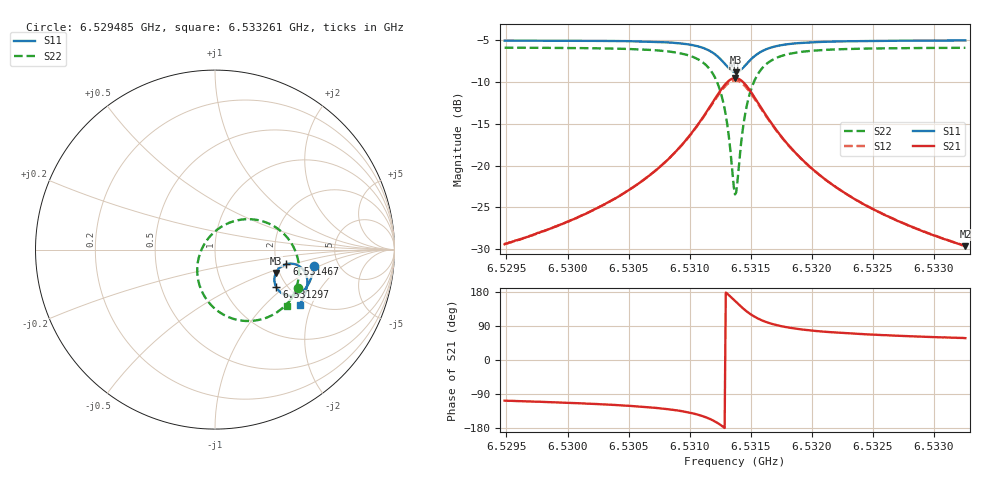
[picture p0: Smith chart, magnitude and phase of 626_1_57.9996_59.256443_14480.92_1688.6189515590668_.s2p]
#  HZ  S  RI  R  50.00
! Rohde & Schwarz Vector Network Analyzer
! Rohde-Schwarz,ZNB20-2Port,1311601062101988,3.16
! Created: UTC 3/21/2024, 1:18:20 AM
! freq[Hz]  re:S11  im:S11  re:S21  im:S21  re:S12  im:S12  re:S22  im:S22
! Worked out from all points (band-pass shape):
!   401 points, 6.529485 GHz to 6.533261 GHz, reference 50 ohm
!   highest |S21| = -9.52 dB at 6.531373 GHz (marker M1); lowest = -29.7 dB at 6.533261 GHz (marker M2)
!   |S21| within 3 dB of the highest: 6.531186 GHz to 6.531563 GHz (377 kHz wide, 0.00577 % of centre)
!   lowest |S11| = -8.8 dB at 6.531382 GHz (marker M3), VSWR 2.14, Z = 95.6 - j28.7 ohm
!   |S11| at or under -10 dB: nowhere
!   |S22| runs from -23.5 to -5.9 dB; largest |S21 - S12| = 0.014
!   S11 on the Smith chart (normalised r, x): 6.529485 GHz: 3.29, -0.89; 6.531297 GHz: 1.76, -0.88; 6.531467 GHz: 2.26, -0.44; 6.533261 GHz: 1.83, -1.64
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6.5294846e9  0.5528 -0.0929  -0.00999 -0.0322  -0.0107 -0.0322  0.4625 -0.2115
6.5301171e9  0.5397 -0.1462  -0.0208 -0.0457  -0.0219 -0.0452  0.4268 -0.2707
6.5304474e9  0.5277 -0.1776  -0.0336 -0.0584  -0.0349 -0.0574  0.3935 -0.3098
6.5307495e9  0.5081 -0.2115  -0.0588 -0.0774  -0.0612 -0.0756  0.3362 -0.3551
6.5309761e9  0.4763 -0.2412  -0.1057 -0.0974  -0.1085 -0.0934  0.2423 -0.3922
6.5311366e9  0.4268 -0.2576  -0.1829 -0.0992  -0.1848 -0.0912  0.1022 -0.3858
6.531231e9  0.377 -0.2459  -0.2588 -0.0623  -0.2566 -0.0512  -0.022 -0.3085
6.531297e9  0.3417 -0.2099  -0.3092 0.0101  -0.3008 0.0203  -0.0918 -0.1782
6.5313253e9  0.3328 -0.1856  -0.319 0.0548  -0.308 0.0631  -0.0988 -0.1025
6.5313537e9  0.3314 -0.158  -0.3158 0.104  -0.3031 0.1092  -0.0841 -0.023
6.5313725e9  0.3354 -0.1395  -0.3054 0.1361  -0.2926 0.1391  -0.061 0.028
6.531382e9  0.3388 -0.1305  -0.2977 0.1516  -0.2849 0.1534  -0.046 0.0513
6.5313914e9  0.3433 -0.1221  -0.2887 0.166  -0.2761 0.1668  -0.0286 0.0732
6.5314386e9  0.3752 -0.0902  -0.2282 0.2194  -0.2187 0.2161  0.0795 0.1496
6.5314669e9  0.3981 -0.0808  -0.1873 0.2347  -0.1801 0.2304  0.1496 0.1674
6.531533e9  0.4455 -0.0815  -0.105 0.2335  -0.1015 0.2296  0.287 0.1505
6.5316274e9  0.4862 -0.1061  -0.0356 0.1966  -0.0341 0.1945  0.3979 0.0727
6.531769e9  0.5091 -0.1446  0.00474 0.144  0.00606 0.1432  0.4564 -0.0324
6.532005e9  0.5143 -0.1894  0.0206 0.0933  0.0218 0.093  0.4681 -0.1362
6.5322882e9  0.5079 -0.2253  0.0224 0.0634  0.0234 0.0631  0.4556 -0.204
6.5326375e9  0.4959 -0.2587  0.0209 0.0445  0.0214 0.0442  0.4356 -0.2545
6.5332605e9  0.4709 -0.3065  0.0176 0.0278  0.0182 0.0275  0.4003 -0.3123
